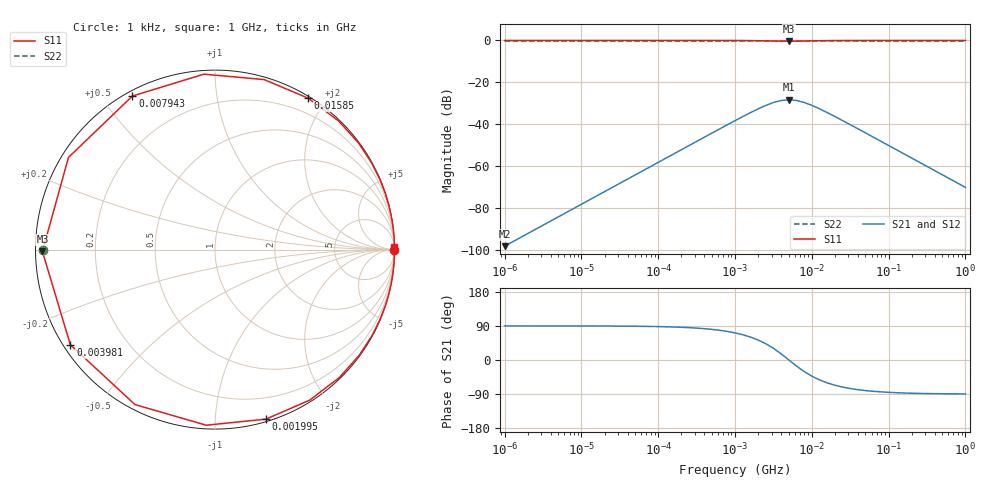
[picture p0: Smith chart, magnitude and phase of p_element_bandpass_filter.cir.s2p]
[Version] 2.0
# Hz S RI R 50
[Number of Ports] 2
[Two-Port Data Order] 12_21
[Reference] 50 50
!  Freq  ReS11  ImS11  ReS12  ImS12  ReS21  ImS21  ReS22  ImS22
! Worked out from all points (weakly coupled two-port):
!   61 points, 1 kHz to 1 GHz, reference 50 ohm
!   highest |S21| = -28.30 dB at 5.012 MHz (marker M1); lowest = -98.2 dB at 1 kHz (marker M2)
!   lowest |S11| = -0.3 dB at 5.012 MHz (marker M3), VSWR 51.00, Z = 0.98 - j0.265 ohm
!   |S11| at or under -10 dB: nowhere
!   |S22| runs from -0.3 to -0.3 dB; largest |S21 - S12| = 0
!   S11 on the Smith chart (normalised r, x): 1 kHz: open; 1.995 MHz: 0.02, -1.34; 3.981 MHz: 0.02, -0.30; 7.943 MHz: 0.02, +0.60; 15.85 MHz: 0.02, +1.79; 1 GHz: open
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[Number of Frequencies] 22
[Network Data]
1000  1 -0.000628  3.95e-09 1.23e-05  3.95e-09 1.23e-05  -0.9608 -2.42e-07
7943.282  1 -0.00499  2.49e-07 9.79e-05  2.49e-07 9.79e-05  -0.9608 -1.92e-06
12589.25  1 -0.00791  6.25e-07 0.000155  6.25e-07 0.000155  -0.9608 -3.04e-06
125892.5  0.9968 -0.079  6.25e-05 0.00155  6.25e-05 0.00155  -0.9608 -3.04e-05
398107.2  0.9682 -0.2476  0.000623 0.00486  0.000623 0.00486  -0.9608 -9.52e-05
1000000  0.8037 -0.5887  0.00385 0.0115  0.00385 0.0115  -0.9609 -0.000226
1584893  0.5272 -0.839  0.00927 0.0165  0.00927 0.0165  -0.961 -0.000323
1995262  0.2839 -0.9444  0.014 0.0185  0.014 0.0185  -0.9611 -0.000363
2511886  -0.0484 -0.9784  0.0206 0.0192  0.0206 0.0192  -0.9612 -0.000376
3162278  -0.4455 -0.8637  0.0283 0.0169  0.0283 0.0169  -0.9613 -0.000332
3981072  -0.8059 -0.5301  0.0354 0.0104  0.0354 0.0104  -0.9615 -0.000204
5011872  -0.9615 -0.0102  0.0385 0.0002  0.0385 0.0002  -0.9615 -3.92e-06
6309573  -0.8162 0.5137  0.0356 -0.0101  0.0356 -0.0101  -0.9615 0.000198
7943282  -0.4602 0.8556  0.0286 -0.0168  0.0286 -0.0168  -0.9613 0.000329
1e7  -0.0621 0.9774  0.0208 -0.0192  0.0208 -0.0192  -0.9612 0.000376
1.258925e7  0.2733 0.9473  0.0142 -0.0186  0.0142 -0.0186  -0.9611 0.000364
1.584893e7  0.5198 0.8434  0.00942 -0.0165  0.00942 -0.0165  -0.961 0.000324
1.995262e7  0.6888 0.7167  0.0061 -0.0141  0.0061 -0.0141  -0.9609 0.000276
3.162278e7  0.8729 0.4829  0.00249 -0.00947  0.00249 -0.00947  -0.9608 0.000186
6.309573e7  0.9677 0.2497  0.000634 -0.0049  0.000634 -0.0049  -0.9608 9.6e-05
1.258925e8  0.9919 0.1261  0.00016 -0.00247  0.00016 -0.00247  -0.9608 4.85e-05
1e9  0.9999 0.0159  2.53e-06 -0.000312  2.53e-06 -0.000312  -0.9608 6.12e-06
[End]
